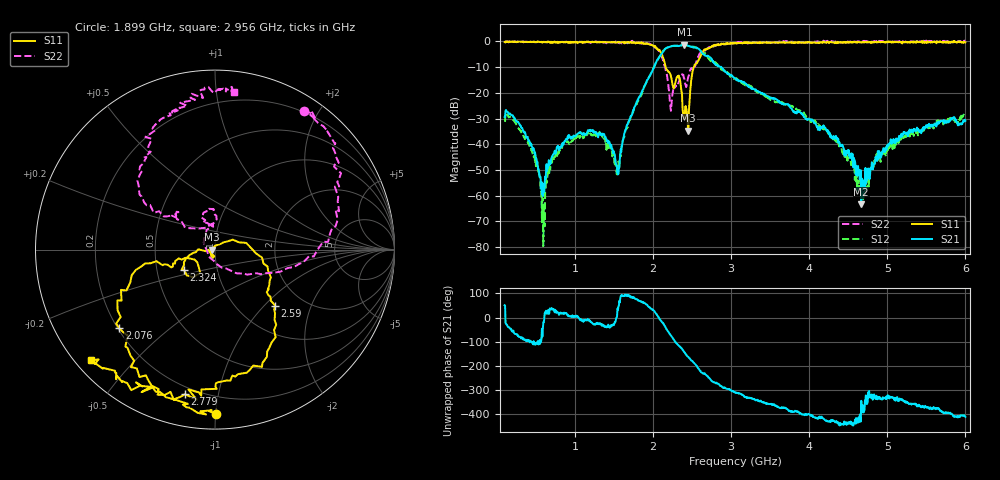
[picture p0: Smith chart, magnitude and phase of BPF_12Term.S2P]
!Created with skrf (http://scikit-rf.org).
# MHz S RI R 50.0
!freq ReS11 ImS11 ReS21 ImS21 ReS12 ImS12 ReS22 ImS22
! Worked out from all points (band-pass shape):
!   1001 points, 100 MHz to 6 GHz, reference 50 ohm
!   highest |S21| = -1.22 dB at 2.401 GHz (marker M1); lowest = -63.3 dB at 4.667 GHz (marker M2)
!   |S21| within 3 dB of the highest: 2.125 GHz to 2.624 GHz (498.7 MHz wide, 21 % of centre)
!   lowest |S11| = -34.7 dB at 2.448 GHz (marker M3), VSWR 1.04, Z = 48.2 + j0.0316 ohm
!   |S11| at or under -10 dB: 2.162 GHz to 2.524 GHz (361.4 MHz wide, 15.4 % of centre)
!   |S22| runs from -27.0 to 0.4 dB; largest |S21 - S12| = 0.091
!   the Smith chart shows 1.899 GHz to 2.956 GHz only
!   S11 on the Smith chart (normalised r, x): 1.899 GHz: 0.09, -1.00; 2.076 GHz: 0.21, -0.34; 2.324 GHz: 0.69, -0.16; 2.59 GHz: 1.47, -1.15; 2.779 GHz: 0.16, -0.80; 2.956 GHz: 0.04, -0.38
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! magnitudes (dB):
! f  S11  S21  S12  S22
! 100 MHz  -0.2  -29.4  -30.9  -0.2
! 454 MHz  -0.2  -41.2  -42.9  -0.2
! 589.7 MHz  -0.3  -60.1  -61.2  -0.2
! 731.3 MHz  -0.1  -43.7  -45.1  -0.3
! 1.085 GHz  -0.2  -35.9  -37.1  -0.1
! 1.327 GHz  -0.2  -36.4  -35.9  0.1
! 1.546 GHz  -0.3  -51.2  -49.2  -0.3
! 1.899 GHz  -0.8  -16.8  -17.0  -0.7
! 2.071 GHz  -3.2  -6.5  -6.7  -3.6
! 2.076 GHz  -3.2  -6.2  -6.3  -3.8
! 2.224 GHz  -12.8  -2.0  -1.9  -25.6
! 2.324 GHz  -13.7  -1.8  -1.6  -16.2
! 2.401 GHz  -30.1  -1.2  -1.4  -14.4
! 2.448 GHz  -34.7  -1.7  -1.7  -14.3
! 2.59 GHz  -6.8  -3.0  -3.5  -5.2
! 2.779 GHz  -1.7  -8.3  -7.9  -1.9
! 2.956 GHz  -0.7  -12.4  -12.3  -1.1
! 3.05 GHz  -0.7  -14.3  -14.6  -0.4
! 4.035 GHz  -0.4  -30.3  -30.5  -0.1
! 4.667 GHz  -0.4  -63.3  -57.0  0.0
! 5.021 GHz  -0.2  -40.1  -41.3  -0.1
! 6 GHz  -0.3  -30.9  -29.1  0.4
